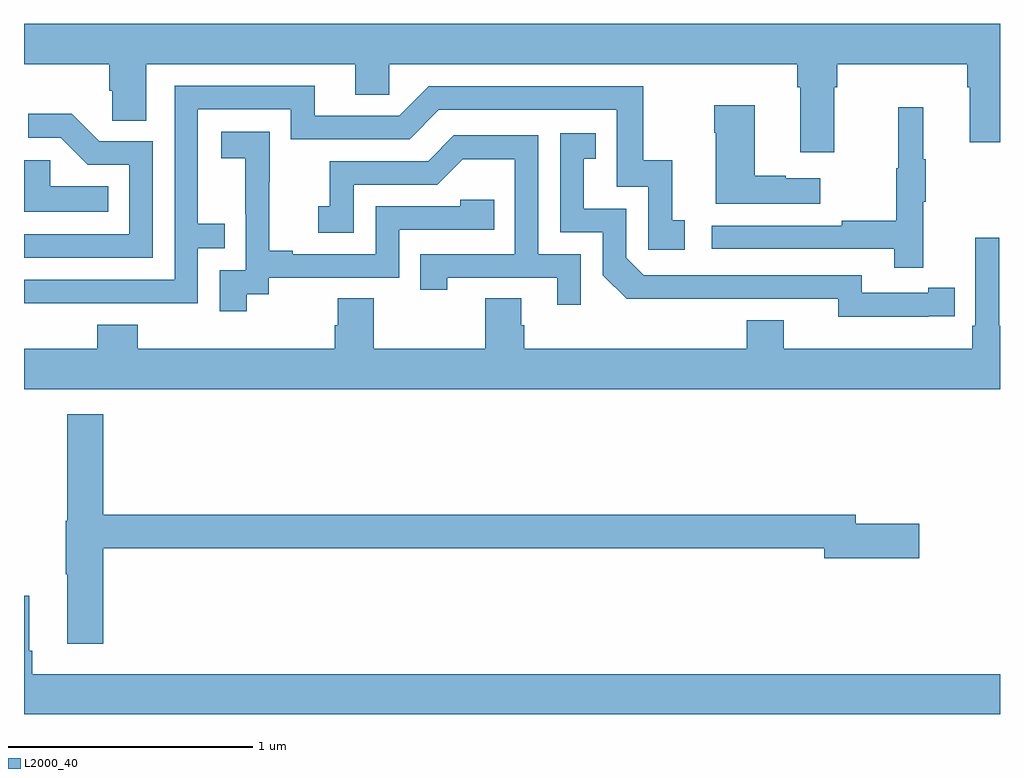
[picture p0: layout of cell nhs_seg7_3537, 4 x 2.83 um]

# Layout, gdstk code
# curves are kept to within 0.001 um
import gdstk
lib = gdstk.Library(unit=1e-6, precision=1e-09)
def P(c, l, *ps):  # polygons
    for p in ps: c.add(gdstk.Polygon(p, *l))
L2000_40 = (2000, 40)

nhs_seg7_3537 = lib.new_cell('nhs_seg7_3537')
P(nhs_seg7_3537, L2000_40, [(340.321,1011.176),(340.334,1011.176),(340.334,1011.272),(340.865,1011.272),(340.865,1011.176),(340.877,1011.176),(340.877,1010.952),(341,1010.952),(341,1011.436),(337,1011.436),(337,1011.272),(337.349,1011.272),(337.349,1011.163),(337.362,1011.163),(337.362,1011.04),(337.501,1011.04),(337.501,1011.272),(338.357,1011.272),(338.357,1011.145),(338.496,1011.145),(338.496,1011.272),(340.169,1011.272),(340.169,1011.176),(340.181,1011.176),(340.181,1010.91),(340.321,1010.91)],
  [(337.217,1010.292),(337.713,1010.292),(337.713,1010.517),(337.823,1010.517),(337.823,1010.618),(337.713,1010.618),(337.713,1011.087),(338.094,1011.087),(338.094,1010.964),(338.58,1010.964),(338.7,1011.084),(339.429,1011.084),(339.429,1010.769),(339.558,1010.769),(339.558,1010.511),(339.709,1010.511),(339.709,1010.631),(339.656,1010.631),(339.656,1010.878),(339.538,1010.878),(339.538,1011.18),(338.658,1011.18),(338.538,1011.06),(338.191,1011.06),(338.191,1011.183),(337.617,1011.183),(337.617,1010.388),(337,1010.388),(337,1010.291)],
  [(340.264,1010.803),(340.121,1010.803),(340.121,1010.813),(339.994,1010.813),(339.994,1011.103),(339.829,1011.103),(339.829,1010.99),(339.836,1010.99),(339.836,1010.699),(340.264,1010.699)],
  [(340.685,1010.707),(340.696,1010.707),(340.696,1010.881),(340.685,1010.881),(340.685,1011.094),(340.582,1011.094),(340.582,1010.844),(340.575,1010.844),(340.575,1010.63),(340.351,1010.63),(340.351,1010.61),(339.819,1010.61),(339.819,1010.514),(340.567,1010.514),(340.567,1010.436),(340.685,1010.436)],
  [(337.527,1010.955),(337.308,1010.955),(337.195,1011.068),(337.017,1011.068),(337.017,1010.97),(337.151,1010.97),(337.262,1010.859),(337.431,1010.859),(337.431,1010.574),(337,1010.574),(337,1010.478),(337.527,1010.478)],
  [(337.912,1010.329),(338.004,1010.329),(338.004,1010.397),(338.538,1010.397),(338.538,1010.592),(338.927,1010.592),(338.927,1010.715),(338.787,1010.715),(338.787,1010.688),(338.442,1010.688),(338.442,1010.493),(338.101,1010.493),(338.101,1010.506),(338.006,1010.506),(338.006,1010.789),(338.007,1010.789),(338.007,1010.995),(337.809,1010.995),(337.809,1010.885),(337.907,1010.885),(337.907,1010.657),(337.908,1010.657),(337.908,1010.427),(337.803,1010.427),(337.803,1010.259),(337.912,1010.259)],
  [(340.706,1010.238),(340.814,1010.238),(340.814,1010.354),(340.706,1010.354),(340.706,1010.334),(340.434,1010.334),(340.434,1010.406),(339.54,1010.406),(339.468,1010.478),(339.468,1010.679),(339.295,1010.679),(339.295,1010.883),(339.344,1010.883),(339.344,1010.989),(339.198,1010.989),(339.198,1010.583),(339.372,1010.583),(339.372,1010.406),(339.47,1010.309),(340.338,1010.31),(340.338,1010.237)],
  [(339.282,1010.493),(339.108,1010.493),(339.108,1010.979),(338.762,1010.979),(338.657,1010.874),(338.254,1010.874),(338.254,1010.689),(338.205,1010.689),(338.205,1010.58),(338.352,1010.58),(338.352,1010.778),(338.694,1010.778),(338.798,1010.882),(339.012,1010.882),(339.012,1010.493),(338.623,1010.493),(338.623,1010.346),(338.734,1010.346),(338.734,1010.397),(339.185,1010.397),(339.185,1010.286),(339.282,1010.286)],
  [(337.346,1010.77),(337.107,1010.77),(337.107,1010.878),(337,1010.878),(337,1010.666),(337.346,1010.666)],
  [(341,1010.2),(340.996,1010.2),(340.996,1010.56),(340.899,1010.56),(340.899,1010.2),(340.886,1010.2),(340.886,1010.104),(340.114,1010.104),(340.114,1010.221),(339.962,1010.221),(339.962,1010.104),(339.05,1010.104),(339.05,1010.202),(339.037,1010.202),(339.037,1010.312),(338.89,1010.312),(338.89,1010.104),(338.433,1010.104),(338.433,1010.312),(338.285,1010.312),(338.285,1010.202),(338.273,1010.202),(338.273,1010.104),(337.466,1010.104),(337.466,1010.203),(337.301,1010.203),(337.301,1010.104),(337,1010.104),(337,1009.94),(341,1009.94)],
  [(337.325,1009.288),(340.28,1009.288),(340.28,1009.246),(340.669,1009.246),(340.669,1009.388),(340.408,1009.388),(340.408,1009.424),(337.325,1009.424),(337.325,1009.837),(337.178,1009.837),(337.178,1009.401),(337.171,1009.401),(337.171,1009.18),(337.178,1009.18),(337.178,1008.897),(337.325,1008.897)],
  [(341,1008.772),(337.034,1008.772),(337.034,1008.868),(337.021,1008.868),(337.021,1009.093),(337,1009.093),(337,1008.608),(341,1008.608)])

lib.write_gds('nhs_seg7_3537.gds')
